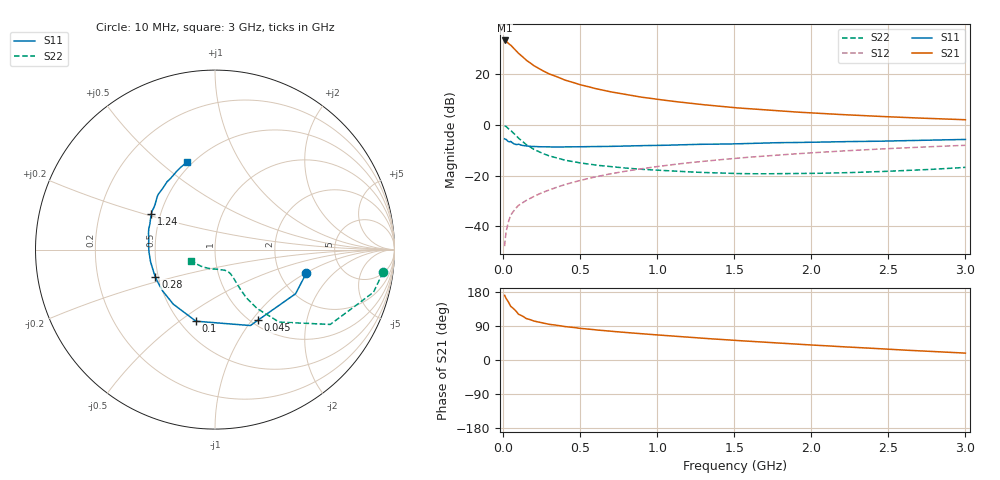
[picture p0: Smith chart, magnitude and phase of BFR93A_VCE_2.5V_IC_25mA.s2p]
! Infineon Technologies  Discrete & RF Semiconductors
! BFR93A
! VCE =  2.5 V,  IC =  25 mA
! Common Emitter S-Parameters:  Nov 2015
# GHz  S  MA  R  50
!  f  S11  S21  S12  S22
! GHz  MAG  ANG  MAG  ANG  MAG  ANG  MAG  ANG
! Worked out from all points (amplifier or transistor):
!   180 points, 10 MHz to 3 GHz, reference 50 ohm
!   highest |S21| = 33.0 dB at 10 MHz (marker M1)
!   |S21| within 3 dB of that: start of sweep to 68.24 MHz
!   unconditionally stable (mu >= 1): 373.4 MHz to end of sweep
!   at 160 MHz: K = 0.76, MSG = 27.2 dB, |S12| = -29.4 dB
!   at 1.22 GHz: K = 1.08, MAG = 9.9 dB, |S12| = -14.9 dB
!   at 3 GHz: K = 1.00, MAG = 4.6 dB, |S12| = -8.1 dB
!   S11 on the Smith chart (normalised r, x): 10 MHz: 2.79, -1.02; 45 MHz: 1.07, -1.07; 100 MHz: 0.60, -0.58; 280 MHz: 0.48, -0.17; 1.24 GHz: 0.44, +0.21; 3 GHz: 0.47, +0.62
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0.01  0.5251 -14.6  44.84 170.8  0.0041 83.1  0.9446 -7.7
0.02  0.5119 -28.7  43.35 162.3  0.0079 77.8  0.9144 -15.1
0.045  0.4605 -58.7  37.01 145.3  0.0152 68.8  0.7843 -29.6
0.05  0.4668 -65.0  36.2 141.3  0.0167 68.0  0.7655 -33.0
0.1  0.4128 -104.9  25.12 120.8  0.0259 61.7  0.5391 -48.5
0.15  0.3826 -127.4  18.37 109.5  0.0324 61.8  0.4045 -54.4
0.2  0.3718 -141.7  14.34 102.8  0.0388 63.5  0.3258 -56.7
0.24  0.3669 -149.6  12.22 99.0  0.0442 64.7  0.286 -57.2
0.28  0.3649 -155.6  10.59 95.7  0.0495 65.8  0.256 -57.4
0.3  0.3646 -158.2  9.865 94.1  0.0521 66.4  0.2426 -57.4
0.4  0.3654 -169.2  7.5 88.3  0.0661 68.2  0.2003 -57.1
0.5  0.3676 -177.3  6.068 83.5  0.0799 68.7  0.1769 -56.8
0.52  0.368 -178.6  5.87 82.8  0.0827 68.7  0.1735 -56.9
0.6  0.3713 176.3  5.09 79.5  0.094 68.7  0.1601 -57.3
0.7  0.373 171.5  4.385 75.8  0.1083 68.3  0.149 -58.4
0.9  0.3866 162.7  3.45 69.3  0.136 66.7  0.1322 -62.5
1.02  0.3906 158.1  3.076 65.6  0.1526 65.5  0.1264 -65.4
1.24  0.4074 150.5  2.572 59.1  0.1824 62.9  0.1166 -73.6
1.52  0.4192 142.5  2.127 51.4  0.2188 59.5  0.1093 -85.4
2.02  0.4504 129.7  1.681 39.2  0.281 53.1  0.1103 -108.7
2.52  0.4775 118.5  1.414 28.1  0.3398 46.1  0.1219 -131.9
3  0.5108 108.0  1.245 18.2  0.392 39.5  0.1447 -154.9
